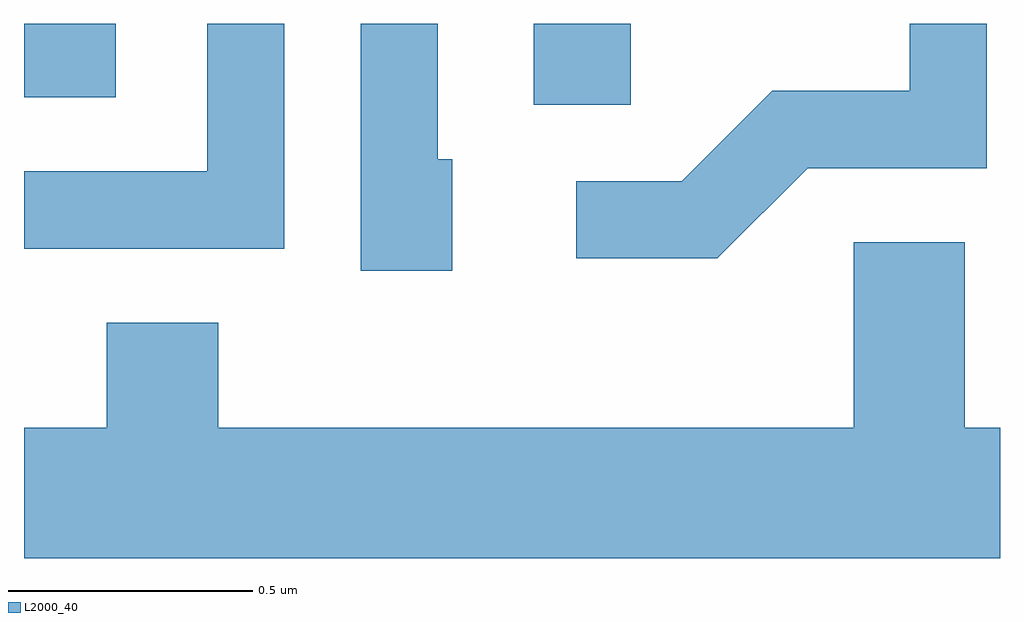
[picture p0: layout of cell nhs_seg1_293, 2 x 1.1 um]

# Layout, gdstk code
import gdstk
lib = gdstk.Library(unit=1e-6, precision=1e-09)
def R(c, l, rs):  # rectangles x0, y0, x1, y1
    for r in rs: c.add(gdstk.rectangle(r[:2], r[2:], *l))
def P(c, l, *ps):  # polygons
    for p in ps: c.add(gdstk.Polygon(p, *l))
L2000_40 = (2000, 40)

nhs_seg1_293 = lib.new_cell('nhs_seg1_293')
R(nhs_seg1_293, L2000_40, [(188.656,860.546,188.854,860.712), (187.611,860.561,187.799,860.712)])
P(nhs_seg1_293, L2000_40, [(188.144,860.712),(187.986,860.712),(187.986,860.409),(187.611,860.409),(187.611,860.251),(188.144,860.251)],
  [(189.217,860.416),(189.584,860.416),(189.584,860.712),(189.426,860.712),(189.426,860.574),(189.144,860.574),(188.959,860.389),(188.743,860.389),(188.743,860.231),(189.032,860.231)],
  [(188.489,860.434),(188.459,860.434),(188.459,860.712),(188.301,860.712),(188.301,860.206),(188.489,860.206)],
  [(189.611,859.884),(189.539,859.884),(189.539,860.264),(189.311,860.264),(189.311,859.884),(188.009,859.884),(188.009,860.099),(187.781,860.099),(187.781,859.884),(187.611,859.884),(187.611,859.616),(189.611,859.616)])

lib.write_gds('nhs_seg1_293.gds')
